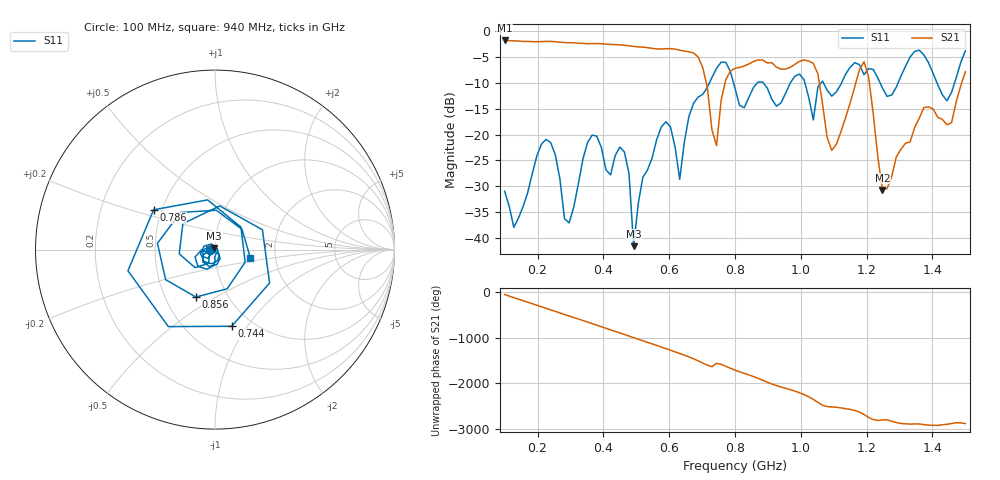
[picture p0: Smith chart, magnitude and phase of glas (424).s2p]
! NanoVNA-App
! Date: 2025-09-25 15:58:46
! Start: 100MHz Stop: 1,5GHz Points: 101
! S-Parameter data: F S11 S21 S12 S22
# Hz S RI R 50
!  Frequency  S11_Real  S11_Imag  S21_Real  S21_Imag  S12_Real  S12_Imag  S22_Real  S22_Imag
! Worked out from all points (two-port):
!   101 points, 100 MHz to 1.5 GHz, reference 50 ohm
!   highest |S21| = -1.80 dB at 100 MHz (marker M1); lowest = -30.7 dB at 1.248 GHz (marker M2)
!   |S21| within 3 dB of the highest: start of sweep to 684.5 MHz
!   lowest |S11| = -41.6 dB at 492 MHz (marker M3), VSWR 1.02, Z = 49.5 + j0.639 ohm
!   |S11| at or under -10 dB: start of sweep to 722.3 MHz; 795.4 MHz to 867.9 MHz (72.5 MHz wide, 8.72 % of centre); 886.1 MHz to 967.9 MHz (81.78 MHz wide, 8.82 % of centre) (the widest 3 of 7)
!   S12 and S22 are empty: the file has one direction only
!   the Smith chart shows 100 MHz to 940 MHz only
!   S11 on the Smith chart (normalised r, x): 100 MHz: 0.95, -0.01; 744 MHz: 0.80, -0.85; 786 MHz: 0.45, +0.24; 856 MHz: 0.71, -0.41; 940 MHz: 1.48, -0.15
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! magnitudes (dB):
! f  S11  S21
! 100 MHz  -30.9  -1.8
! 128 MHz  -37.9  -1.9
! 226 MHz  -20.9  -2.0
! 296 MHz  -37.1  -2.2
! 338 MHz  -24.7  -2.4
! 464 MHz  -23.4  -2.7
! 492 MHz  -41.6  -2.9
! 576 MHz  -18.5  -3.5
! 632 MHz  -28.7  -3.7
! 702 MHz  -12.2  -7.1
! 744 MHz  -7.2  -22.1
! 786 MHz  -7.8  -7.7
! 800 MHz  -11.1  -7.2
! 856 MHz  -10.9  -5.9
! 940 MHz  -13.8  -7.4
! 1.038 GHz  -17.2  -6.2
! 1.094 GHz  -12.6  -23.0
! 1.192 GHz  -8.4  -5.9
! 1.248 GHz  -11.0  -30.7
! 1.276 GHz  -12.4  -28.1
! 1.444 GHz  -13.5  -18.1
! 1.5 GHz  -3.8  -7.8
